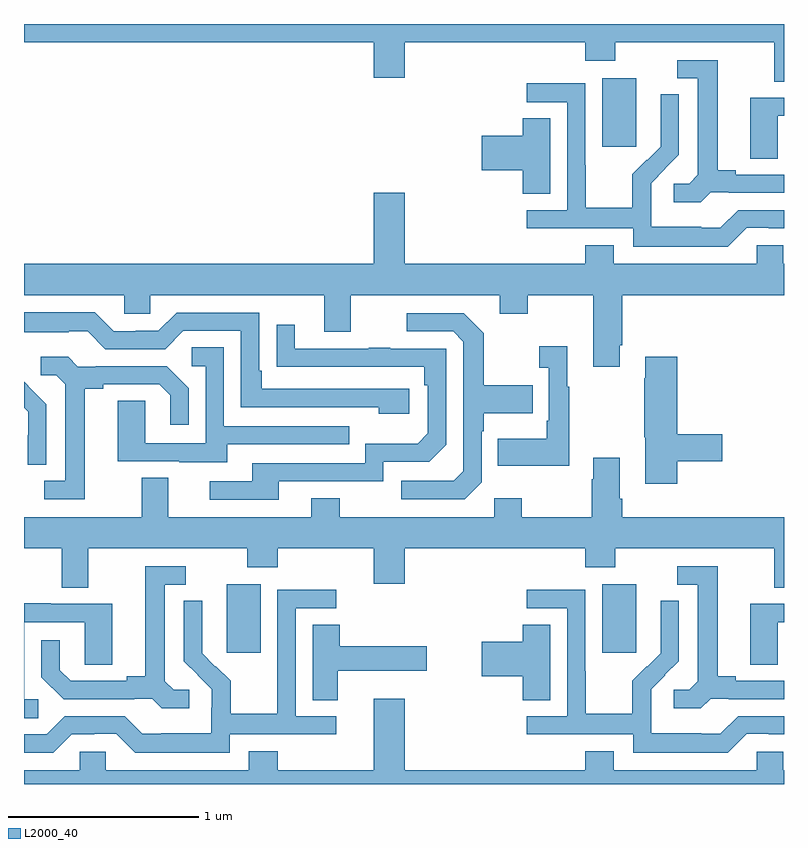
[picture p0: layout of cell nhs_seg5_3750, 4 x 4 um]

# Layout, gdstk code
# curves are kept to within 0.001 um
import gdstk
lib = gdstk.Library(unit=1e-6, precision=1e-09)
def R(c, l, rs):  # rectangles x0, y0, x1, y1
    for r in rs: c.add(gdstk.rectangle(r[:2], r[2:], *l))
def P(c, l, *ps):  # polygons
    for p in ps: c.add(gdstk.Polygon(p, *l))
L2000_40 = (2000, 40)

nhs_seg5_3750 = lib.new_cell('nhs_seg5_3750')
R(nhs_seg5_3750, L2000_40, [(332.066,909.489,332.245,909.85), (334.043,909.489,334.222,909.85), (334.043,912.153,334.222,912.514)])
P(nhs_seg5_3750, L2000_40, [(335,912.799),(331,912.799),(331,912.704),(332.84,912.704),(332.84,912.516),(333.004,912.516),(333.004,912.704),(333.953,912.704),(333.953,912.605),(334.113,912.605),(334.113,912.704),(334.949,912.704),(334.949,912.496),(335,912.496)],
  [(334.614,911.913),(334.708,911.913),(334.708,911.91),(335,911.91),(335,912.006),(334.747,912.006),(334.747,912.029),(334.651,912.029),(334.651,912.609),(334.437,912.609),(334.437,912.513),(334.547,912.513),(334.547,912.005),(334.5,911.958),(334.419,911.958),(334.419,911.861),(334.562,911.861)],
  [(334.803,911.727),(334.919,911.727),(334.919,911.724),(335,911.724),(335,911.82),(334.758,911.82),(334.665,911.727),(334.565,911.727),(334.565,911.731),(334.302,911.731),(334.302,911.865),(334.3,911.865),(334.3,911.962),(334.446,912.11),(334.446,912.428),(334.35,912.428),(334.35,912.274),(334.352,912.274),(334.352,912.152),(334.281,912.081),(334.278,912.084),(334.201,912.007),(334.201,911.833),(333.957,911.833),(333.957,912.056),(333.954,912.056),(333.954,912.486),(333.645,912.486),(333.645,912.387),(333.858,912.387),(333.858,911.82),(333.645,911.82),(333.645,911.724),(334.206,911.724),(334.206,911.627),(334.703,911.627)],
  [(334.968,912.315),(335,912.315),(335,912.411),(334.823,912.411),(334.823,912.091),(334.968,912.091)],
  [(333.769,912.302),(333.626,912.302),(333.626,912.212),(333.408,912.212),(333.408,912.029),(333.626,912.029),(333.626,911.905),(333.769,911.905)],
  [(333.004,911.911),(332.84,911.911),(332.84,911.536),(331,911.536),(331,911.372),(331.527,911.372),(331.527,911.274),(331.665,911.274),(331.665,911.372),(332.579,911.372),(332.579,911.178),(332.719,911.178),(332.719,911.372),(333.503,911.372),(333.503,911.273),(333.651,911.273),(333.651,911.372),(333.995,911.372),(333.995,910.995),(334.135,910.995),(334.135,911.107),(334.148,911.107),(334.148,911.372),(335,911.372),(335,911.536),(334.995,911.536),(334.995,911.634),(334.857,911.634),(334.857,911.536),(334.105,911.536),(334.105,911.635),(333.953,911.635),(333.953,911.536),(333.004,911.536)],
  [(333.028,910.878),(332.251,910.878),(332.251,910.975),(332.238,910.975),(332.238,911.28),(331.803,911.28),(331.707,911.184),(331.589,911.184),(331.589,911.181),(331.473,911.181),(331.373,911.281),(331,911.281),(331,911.177),(331.235,911.177),(331.235,911.181),(331.335,911.181),(331.428,911.088),(331.743,911.088),(331.839,911.184),(332.142,911.184),(332.142,910.782),(332.867,910.782),(332.867,910.748),(333.028,910.748)],
  [(333.408,910.386),(333.408,910.655),(333.421,910.655),(333.421,910.751),(333.677,910.751),(333.677,910.899),(333.421,910.899),(333.421,911.171),(333.315,911.277),(333.015,911.277),(333.015,911.181),(333.258,911.181),(333.312,911.127),(333.312,910.446),(333.261,910.395),(332.985,910.395),(332.985,910.299),(333.321,910.299)],
  [(332.341,910.392),(332.892,910.392),(332.892,910.494),(333.132,910.494),(333.222,910.584),(333.222,911.091),(332.927,911.091),(332.927,911.096),(332.815,911.096),(332.815,911.091),(332.425,911.091),(332.425,911.215),(332.329,911.215),(332.329,910.996),(333.106,910.995),(333.106,910.898),(333.126,910.898),(333.126,910.644),(333.073,910.591),(332.796,910.591),(332.796,910.488),(332.201,910.488),(332.201,910.392),(331.977,910.392),(331.977,910.296),(332.341,910.296)],
  [(333.871,910.891),(333.859,910.891),(333.859,911.104),(333.711,911.104),(333.711,910.991),(333.762,910.991),(333.762,910.711),(333.75,910.711),(333.75,910.615),(333.493,910.615),(333.493,910.475),(333.871,910.475)],
  [(332.071,910.587),(332.711,910.587),(332.711,910.683),(332.052,910.683),(332.052,911.099),(331.884,911.099),(331.884,910.998),(331.956,910.998),(331.956,910.593),(331.638,910.593),(331.638,910.817),(331.493,910.817),(331.493,910.497),(331.817,910.497),(331.817,910.493),(332.071,910.493)],
  [(334.439,910.498),(334.675,910.498),(334.675,910.64),(334.439,910.64),(334.439,911.047),(334.271,911.047),(334.271,910.934),(334.264,910.934),(334.264,910.623),(334.271,910.623),(334.271,910.38),(334.439,910.38)],
  [(331.321,910.88),(331.417,910.88),(331.417,910.902),(331.712,910.902),(331.769,910.845),(331.769,910.689),(331.866,910.689),(331.866,910.882),(331.75,910.998),(331.378,910.998),(331.378,910.995),(331.284,910.995),(331.232,911.047),(331.089,911.047),(331.089,910.95),(331.17,910.95),(331.217,910.903),(331.217,910.395),(331.107,910.395),(331.107,910.299),(331.321,910.299)],
  [(331.116,910.798),(331.043,910.871),(331.044,910.872),(331,910.916),(331,910.779),(331.022,910.757),(331.022,910.634),(331.02,910.634),(331.02,910.48),(331.116,910.48)],
  [(331.339,910.04),(332.176,910.04),(332.176,909.941),(332.336,909.941),(332.336,910.04),(332.84,910.04),(332.84,909.852),(333.004,909.852),(333.004,910.04),(333.953,910.04),(333.953,909.941),(334.113,909.941),(334.113,910.04),(334.949,910.04),(334.949,909.832),(335,909.832),(335,910.204),(334.148,910.204),(334.148,910.3),(334.135,910.3),(334.135,910.516),(333.995,910.516),(333.995,910.403),(333.988,910.403),(333.988,910.204),(333.621,910.204),(333.621,910.303),(333.474,910.303),(333.474,910.204),(332.661,910.204),(332.661,910.303),(332.513,910.303),(332.513,910.204),(331.759,910.204),(331.759,910.412),(331.619,910.412),(331.619,910.204),(331,910.204),(331,910.04),(331.199,910.04),(331.199,909.832),(331.339,909.832)],
  [(334.614,909.249),(334.708,909.249),(334.708,909.246),(335,909.246),(335,909.342),(334.747,909.342),(334.747,909.365),(334.651,909.365),(334.651,909.945),(334.437,909.945),(334.437,909.849),(334.547,909.849),(334.547,909.341),(334.5,909.294),(334.419,909.294),(334.419,909.197),(334.562,909.197)],
  [(331.87,909.294),(331.788,909.294),(331.741,909.341),(331.741,909.849),(331.852,909.849),(331.852,909.945),(331.637,909.945),(331.637,909.365),(331.541,909.365),(331.541,909.342),(331.246,909.342),(331.189,909.399),(331.189,909.556),(331.092,909.556),(331.092,909.362),(331.208,909.246),(331.58,909.246),(331.58,909.249),(331.674,909.249),(331.726,909.197),(331.87,909.197)],
  [(332.082,909.06),(332.644,909.06),(332.644,909.156),(332.43,909.156),(332.43,909.723),(332.644,909.723),(332.644,909.822),(332.334,909.822),(332.334,909.392),(332.332,909.392),(332.332,909.169),(332.087,909.169),(332.087,909.343),(332.01,909.42),(332.007,909.417),(331.937,909.488),(331.938,909.764),(331.842,909.764),(331.842,909.446),(331.988,909.298),(331.988,909.201),(331.986,909.201),(331.986,909.067),(331.723,909.067),(331.723,909.063),(331.623,909.063),(331.53,909.156),(331.215,909.156),(331.119,909.06),(331,909.06),(331,908.964),(331.155,908.964),(331.251,909.06),(331.37,909.06),(331.37,909.063),(331.485,909.063),(331.585,908.963),(332.082,908.963)],
  [(334.803,909.063),(334.919,909.063),(334.919,909.06),(335,909.06),(335,909.156),(334.758,909.156),(334.665,909.063),(334.565,909.063),(334.565,909.067),(334.302,909.067),(334.302,909.201),(334.3,909.201),(334.3,909.298),(334.446,909.446),(334.446,909.764),(334.35,909.764),(334.35,909.61),(334.352,909.61),(334.352,909.488),(334.281,909.417),(334.278,909.42),(334.201,909.343),(334.201,909.169),(333.957,909.169),(333.957,909.392),(333.954,909.392),(333.954,909.822),(333.645,909.822),(333.645,909.723),(333.858,909.723),(333.858,909.156),(333.645,909.156),(333.645,909.06),(334.206,909.06),(334.206,908.963),(334.703,908.963)],
  [(331.075,909.246),(331.002,909.246),(331.002,909.651),(331.32,909.651),(331.32,909.427),(331.465,909.427),(331.465,909.747),(331.141,909.747),(331.141,909.751),(331,909.751),(331,909.145),(331.075,909.145)],
  [(334.968,909.651),(335,909.651),(335,909.747),(334.823,909.747),(334.823,909.427),(334.968,909.427)],
  [(333.769,909.638),(333.626,909.638),(333.626,909.548),(333.408,909.548),(333.408,909.365),(333.626,909.365),(333.626,909.241),(333.769,909.241)],
  [(332.65,909.395),(333.121,909.395),(333.121,909.525),(332.663,909.525),(332.663,909.638),(332.519,909.638),(332.519,909.241),(332.65,909.241)],
  [(332.336,908.971),(332.183,908.971),(332.183,908.872),(331.431,908.872),(331.431,908.97),(331.293,908.97),(331.293,908.872),(331,908.872),(331,908.799),(335,908.799),(335,908.872),(334.995,908.872),(334.995,908.97),(334.857,908.97),(334.857,908.872),(334.105,908.872),(334.105,908.971),(333.953,908.971),(333.953,908.872),(333.004,908.872),(333.004,909.247),(332.84,909.247),(332.84,908.872),(332.336,908.872)])

lib.write_gds('nhs_seg5_3750.gds')
